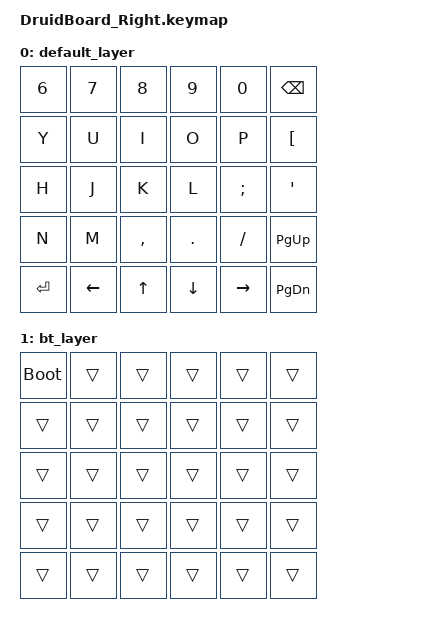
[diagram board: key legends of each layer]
#include <behaviors.dtsi>
#include <dt-bindings/zmk/keys.h>
#include <dt-bindings/zmk/bt.h>

/ {
    keymap {
        compatible = "zmk,keymap";

        default_layer {
            bindings = <
                &kp N6      &kp N7      &kp N8      &kp N9      &kp N0      &kp BACKSPACE
                &kp Y       &kp U       &kp I       &kp O       &kp P       &kp LBKT
                &kp H       &kp J       &kp K       &kp L       &kp SEMI    &kp SQT
                &kp N       &kp M       &kp COMMA   &kp PERIOD  &kp FSLH    &kp PG_UP
                &kp RET     &kp LEFT    &kp UP      &kp DOWN    &kp RIGHT   &kp PG_DN
            >;
        };

        bt_layer {
            bindings = <
                &bootloader &trans      &trans      &trans &trans &trans  
                &trans      &trans      &trans      &trans &trans &trans  
                &trans      &trans      &trans      &trans &trans &trans  
                &trans      &trans      &trans      &trans &trans &trans  
                &trans      &trans      &trans      &trans &trans &trans  
            >;
        };
    };
};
